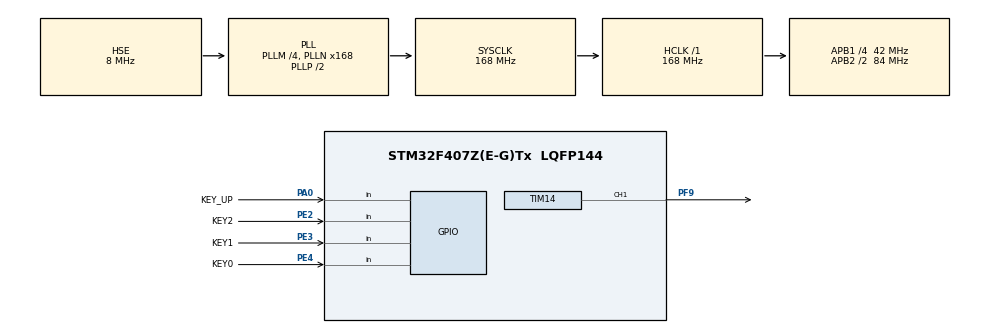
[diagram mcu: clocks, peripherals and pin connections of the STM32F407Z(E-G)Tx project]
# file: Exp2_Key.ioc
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Mcu.Family=STM32F4
Mcu.Name=STM32F407Z(E-G)Tx
Mcu.Package=LQFP144
NVIC.PriorityGroup=NVIC_PRIORITYGROUP_4
PA0-WKUP.GPIO_Label=KEY_UP
PA0-WKUP.GPIO_PuPd=GPIO_PULLDOWN
PA0-WKUP.Signal=GPIO_Input
PA13.Mode=Serial_Wire
PA13.Signal=SYS_JTMS-SWDIO
PA14.Mode=Serial_Wire
PA14.Signal=SYS_JTCK-SWCLK
PE2.GPIO_Label=KEY2
PE2.GPIO_PuPd=GPIO_PULLUP
PE2.Signal=GPIO_Input
PE3.GPIO_Label=KEY1
PE3.GPIO_PuPd=GPIO_PULLUP
PE3.Signal=GPIO_Input
PE4.GPIO_Label=KEY0
PE4.GPIO_PuPd=GPIO_PULLUP
PE4.Signal=GPIO_Input
PF9.Signal=S_TIM14_CH1
PH0-OSC_IN.Mode=HSE-External-Oscillator
PH0-OSC_IN.Signal=RCC_OSC_IN
PH1-OSC_OUT.Mode=HSE-External-Oscillator
PH1-OSC_OUT.Signal=RCC_OSC_OUT
ProjectManager.HeapSize=0x200
ProjectManager.StackSize=0x400
ProjectManager.TargetToolchain=CMake
RCC.48MHZClocksFreq_Value=84000000
RCC.AHBFreq_Value=168000000
RCC.APB1CLKDivider=RCC_HCLK_DIV4
RCC.APB1Freq_Value=42000000
RCC.APB1TimFreq_Value=84000000
RCC.APB2CLKDivider=RCC_HCLK_DIV2
RCC.APB2Freq_Value=84000000
RCC.APB2TimFreq_Value=168000000
RCC.CortexFreq_Value=168000000
RCC.HCLKFreq_Value=168000000
RCC.HSE_VALUE=8000000
RCC.HSI_VALUE=16000000
RCC.LSE_VALUE=32768
RCC.PLLM=4
RCC.PLLN=168
RCC.PLLSourceVirtual=RCC_PLLSOURCE_HSE
RCC.SYSCLKFreq_VALUE=168000000
RCC.SYSCLKSource=RCC_SYSCLKSOURCE_PLLCLK
RCC.VCOOutputFreq_Value=336000000
SH.S_TIM14_CH1.0=TIM14_CH1,PWM Generation1 CH1
TIM14.Channel=TIM_CHANNEL_1
TIM14.Period=499
TIM14.Prescaler=83
VP_TIM14_VS_ClockSourceINT.Mode=Enable_Timer
board=custom

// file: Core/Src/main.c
/* USER CODE BEGIN Header */
/**
  ******************************************************************************
  * @file           : main.c
  * @brief          : Main program body
  ******************************************************************************
  * @attention
  *
  * Copyright (c) 2026 STMicroelectronics.
  * All rights reserved.
  *
  * This software is licensed under terms that can be found in the LICENSE file
  * in the root directory of this software component.
  * If no LICENSE file comes with this software, it is provided AS-IS.
  *
  ******************************************************************************
  */
/* USER CODE END Header */
#include "main.h"

/* USER CODE BEGIN Includes */
#include "key.h"
/* USER CODE END Includes */

TIM_HandleTypeDef htim14;

void SystemClock_Config(void);
static void MX_GPIO_Init(void);
static void MX_TIM14_Init(void);

int main(void)
{

  /* MCU Configuration--------------------------------------------------------*/

  /* Reset of all peripherals, Initializes the Flash interface and the Systick. */
  HAL_Init();

  /* Configure the system clock */
  SystemClock_Config();

  /* Initialize all configured peripherals */
  MX_GPIO_Init();
  MX_TIM14_Init();
  /* USER CODE BEGIN 2 */
  // Enable the timer and set pwm to max to disable the LED0
  HAL_TIM_PWM_Start(&htim14, TIM_CHANNEL_1);
  __HAL_TIM_SET_COMPARE(&htim14, TIM_CHANNEL_1, 500);

  uint8_t breathe_mode = 0;
  uint16_t pwm_val = 0;
  uint8_t direction = 1;

  /* USER CODE END 2 */

  /* Infinite loop */
  /* USER CODE BEGIN WHILE */
  while (1)
  {
    uint8_t key = KEY_Scan(0);

    if (key == KEY0_PRES) {
      breathe_mode = 1;
    }
    else if (key == KEY1_PRES) {
      breathe_mode = 0;
      __HAL_TIM_SET_COMPARE(&htim14, TIM_CHANNEL_1, 500);
    }

    if (breathe_mode)
    {
      if (direction) pwm_val++; else pwm_val--;

      if (pwm_val >= 490) direction = 0;
      if (pwm_val <= 10)  direction = 1;

      __HAL_TIM_SET_COMPARE(&htim14, TIM_CHANNEL_1, pwm_val);

      HAL_Delay(2);
    }
    /* USER CODE END WHILE */

  }
}

void SystemClock_Config(void)
{
  RCC_OscInitTypeDef RCC_OscInitStruct = {0};
  RCC_ClkInitTypeDef RCC_ClkInitStruct = {0};

  /** Configure the main internal regulator output voltage
  */
  __HAL_RCC_PWR_CLK_ENABLE();
  __HAL_PWR_VOLTAGESCALING_CONFIG(PWR_REGULATOR_VOLTAGE_SCALE1);

  /** Initializes the RCC Oscillators according to the specified parameters
  * in the RCC_OscInitTypeDef structure.
  */
  RCC_OscInitStruct.OscillatorType = RCC_OSCILLATORTYPE_HSE;
  RCC_OscInitStruct.HSEState = RCC_HSE_ON;
  RCC_OscInitStruct.PLL.PLLState = RCC_PLL_ON;
  RCC_OscInitStruct.PLL.PLLSource = RCC_PLLSOURCE_HSE;
  RCC_OscInitStruct.PLL.PLLM = 4;
  RCC_OscInitStruct.PLL.PLLN = 168;
  RCC_OscInitStruct.PLL.PLLP = RCC_PLLP_DIV2;
  RCC_OscInitStruct.PLL.PLLQ = 4;
  if (HAL_RCC_OscConfig(&RCC_OscInitStruct) != HAL_OK)
  {
    Error_Handler();
  }

  /** Initializes the CPU, AHB and APB buses clocks
  */
  RCC_ClkInitStruct.ClockType = RCC_CLOCKTYPE_HCLK|RCC_CLOCKTYPE_SYSCLK
                              |RCC_CLOCKTYPE_PCLK1|RCC_CLOCKTYPE_PCLK2;
  RCC_ClkInitStruct.SYSCLKSource = RCC_SYSCLKSOURCE_PLLCLK;
  RCC_ClkInitStruct.AHBCLKDivider = RCC_SYSCLK_DIV1;
  RCC_ClkInitStruct.APB1CLKDivider = RCC_HCLK_DIV4;
  RCC_ClkInitStruct.APB2CLKDivider = RCC_HCLK_DIV2;

  if (HAL_RCC_ClockConfig(&RCC_ClkInitStruct, FLASH_LATENCY_5) != HAL_OK)
  {
    Error_Handler();
  }
}

static void MX_TIM14_Init(void)
{

  TIM_OC_InitTypeDef sConfigOC = {0};

  htim14.Instance = TIM14;
  htim14.Init.Prescaler = 83;
  htim14.Init.CounterMode = TIM_COUNTERMODE_UP;
  htim14.Init.Period = 499;
  htim14.Init.ClockDivision = TIM_CLOCKDIVISION_DIV1;
  htim14.Init.AutoReloadPreload = TIM_AUTORELOAD_PRELOAD_DISABLE;
  if (HAL_TIM_Base_Init(&htim14) != HAL_OK)
  {
    Error_Handler();
  }
  if (HAL_TIM_PWM_Init(&htim14) != HAL_OK)
  {
    Error_Handler();
  }
  sConfigOC.OCMode = TIM_OCMODE_PWM1;
  sConfigOC.Pulse = 0;
  sConfigOC.OCPolarity = TIM_OCPOLARITY_HIGH;
  sConfigOC.OCFastMode = TIM_OCFAST_DISABLE;
  if (HAL_TIM_PWM_ConfigChannel(&htim14, &sConfigOC, TIM_CHANNEL_1) != HAL_OK)
  {
    Error_Handler();
  }
  HAL_TIM_MspPostInit(&htim14);

}

static void MX_GPIO_Init(void)
{
  GPIO_InitTypeDef GPIO_InitStruct = {0};

  /* GPIO Ports Clock Enable */
  __HAL_RCC_GPIOE_CLK_ENABLE();
  __HAL_RCC_GPIOF_CLK_ENABLE();
  __HAL_RCC_GPIOH_CLK_ENABLE();
  __HAL_RCC_GPIOA_CLK_ENABLE();

  /*Configure GPIO pins : KEY2_Pin KEY1_Pin KEY0_Pin */
  GPIO_InitStruct.Pin = KEY2_Pin|KEY1_Pin|KEY0_Pin;
  GPIO_InitStruct.Mode = GPIO_MODE_INPUT;
  GPIO_InitStruct.Pull = GPIO_PULLUP;
  HAL_GPIO_Init(GPIOE, &GPIO_InitStruct);

  /*Configure GPIO pin : KEY_UP_Pin */
  GPIO_InitStruct.Pin = KEY_UP_Pin;
  GPIO_InitStruct.Mode = GPIO_MODE_INPUT;
  GPIO_InitStruct.Pull = GPIO_PULLDOWN;
  HAL_GPIO_Init(KEY_UP_GPIO_Port, &GPIO_InitStruct);

}

void Error_Handler(void)
{
  __disable_irq();
  while (1)
  {
  }
}
